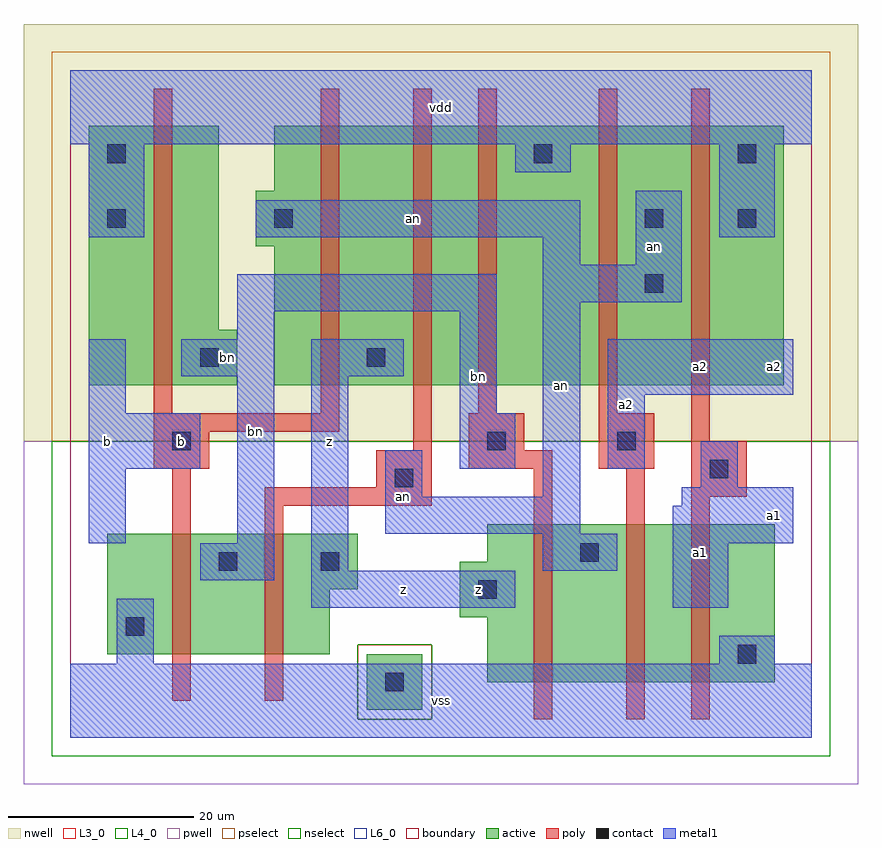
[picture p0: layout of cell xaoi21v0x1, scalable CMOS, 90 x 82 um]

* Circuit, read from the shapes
.subckt xaoi21v0x1 a1 a2 an b bn vdd vss z
M1 bn b vss vss nfet w=13u l=2u
M2 z an bn vss nfet w=13u l=2u
M3 an bn z vss nfet w=17u l=2u
M4 n1 a2 an vss nfet w=17u l=2u
M5 vss a1 n1 vss nfet w=17u l=2u
M6 bn b vdd n2 pfet w=28u l=2u
M7 z b an n2 pfet w=28u l=2u
M8 n3 an z n2 pfet w=28u l=2u
M9 vdd bn n3 n2 pfet w=28u l=2u
M10 an a2 vdd n2 pfet w=28u l=2u
M11 vdd a1 an n2 pfet w=28u l=2u
.ends

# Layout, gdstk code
import gdstk
lib = gdstk.Library(unit=1e-6, precision=1e-09)
def R(c, l, rs):  # rectangles x0, y0, x1, y1
    for r in rs: c.add(gdstk.rectangle(r[:2], r[2:], *l))
L3_0 = (3, 0)
L4_0 = (4, 0)
L6_0 = (6, 0)
contact = (25, 0)
pwell = (41, 0)
nwell = (42, 0)
active = (43, 0)
pselect = (44, 0)
nselect = (45, 0)
poly = (46, 0)
metal1 = (49, 0)
boundary = (63, 0)

xaoi21v0x1 = lib.new_cell('xaoi21v0x1')
R(xaoi21v0x1, L3_0, [(45,6,76,13), (4,9,28,16), (42,13,76,19), (4,16,31,22), (45,19,76,23)])
R(xaoi21v0x1, L4_0, [(2,38,18,44), (22,38,77,53), (2,44,16,66), (20,53,77,59), (22,59,77,66)])
R(xaoi21v0x1, L6_0, [(32,3,38,9)])
R(xaoi21v0x1, contact, [(34,5,36,7), (72,8,74,10), (6,11,8,13), (44,15,46,17), (16,18,18,20), (27,18,29,20), (55,19,57,21), (35,27,37,29), (69,28,71,30), (11,31,13,33), (45,31,47,33), (59,31,61,33), (14,40,16,42), (32,40,34,42), (62,48,64,50), (4,55,6,57), (22,55,24,57), (62,55,64,57), (72,55,74,57), (4,62,6,64), (50,62,52,64), (72,62,74,64)])
R(xaoi21v0x1, pwell, [(-5,-5,85,32)])
R(xaoi21v0x1, nwell, [(-5,32,85,77)])
R(xaoi21v0x1, active, [(32,3,38,9), (45,6,76,13), (4,9,28,16), (42,13,76,19), (4,16,31,22), (45,19,76,23), (2,38,18,44), (22,38,77,53), (2,44,16,66), (20,53,77,59), (22,59,77,66)])
R(xaoi21v0x1, pselect, [(31,2,39,10), (-2,32,82,74)])
R(xaoi21v0x1, nselect, [(-2,-2,82,2), (-2,2,31,10), (39,2,82,10), (-2,10,82,32)])
R(xaoi21v0x1, poly, [(50,2,52,29), (60,2,62,29), (67,2,69,26), (11,4,13,29), (21,4,23,25), (21,25,39,27), (67,26,73,32), (33,27,39,31), (9,29,15,33), (43,29,52,31), (57,29,63,35), (37,31,39,70), (43,31,49,35), (67,32,69,70), (9,33,29,35), (9,35,11,70), (27,35,29,70), (44,35,46,70), (57,35,59,70)])
R(xaoi21v0x1, metal1, [(0,0,80,8), (5,8,9,15), (70,8,76,11), (26,14,48,18), (65,14,71,21), (14,17,22,21), (26,18,30,39), (51,18,59,22), (2,21,6,29), (18,21,22,39), (65,21,78,25), (34,22,55,26), (66,25,78,27), (34,26,38,31), (51,26,55,47), (68,27,72,32), (2,29,14,35), (42,29,48,35), (58,29,62,37), (2,35,6,43), (42,35,46,46), (58,37,78,43), (12,39,22,43), (26,39,36,43), (18,43,22,46), (18,46,46,50), (51,47,66,51), (51,51,55,54), (61,51,66,59), (2,54,8,64), (20,54,55,58), (70,54,76,64), (48,61,54,64), (0,64,80,72)])
R(xaoi21v0x1, boundary, [(0,0,80,72)])
xaoi21v0x1.add(gdstk.Label('an', (36,26), layer=49, texttype=0))
xaoi21v0x1.add(gdstk.Label('bn', (20,33), layer=49, texttype=0))
xaoi21v0x1.add(gdstk.Label('bn', (17,41), layer=49, texttype=0))
xaoi21v0x1.add(gdstk.Label('bn', (44,39), layer=49, texttype=0))
xaoi21v0x1.add(gdstk.Label('an', (37,56), layer=49, texttype=0))
xaoi21v0x1.add(gdstk.Label('an', (53,38), layer=49, texttype=0))
xaoi21v0x1.add(gdstk.Label('an', (63,53), layer=49, texttype=0))
xaoi21v0x1.add(gdstk.Label('b', (4,32), layer=49, texttype=0))
xaoi21v0x1.add(gdstk.Label('b', (12,32), layer=49, texttype=0))
xaoi21v0x1.add(gdstk.Label('z', (36,16), layer=49, texttype=0))
xaoi21v0x1.add(gdstk.Label('z', (28,32), layer=49, texttype=0))
xaoi21v0x1.add(gdstk.Label('vss', (40,4), layer=49, texttype=0))
xaoi21v0x1.add(gdstk.Label('z', (44,16), layer=49, texttype=0))
xaoi21v0x1.add(gdstk.Label('vdd', (40,68), layer=49, texttype=0))
xaoi21v0x1.add(gdstk.Label('a1', (68,20), layer=49, texttype=0))
xaoi21v0x1.add(gdstk.Label('a1', (76,24), layer=49, texttype=0))
xaoi21v0x1.add(gdstk.Label('a2', (68,40), layer=49, texttype=0))
xaoi21v0x1.add(gdstk.Label('a2', (76,40), layer=49, texttype=0))
xaoi21v0x1.add(gdstk.Label('a2', (60,36), layer=49, texttype=0))

lib.write_gds('xaoi21v0x1.gds')
